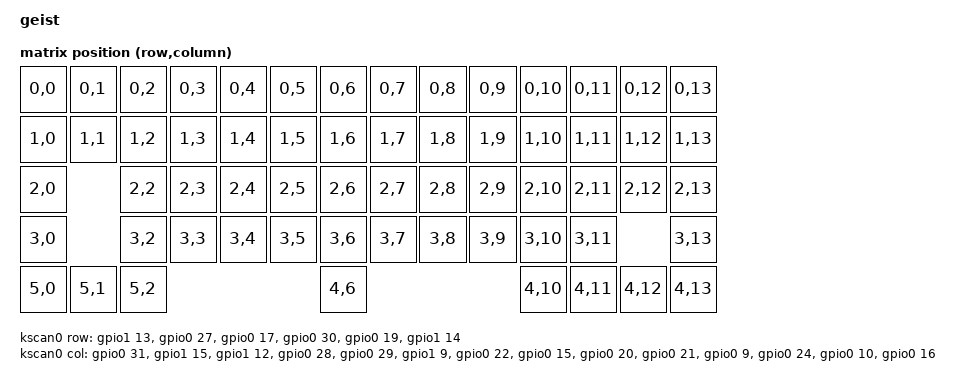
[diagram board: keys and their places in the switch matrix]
/*
 * Copyright (c) 2021 Nick Winans
 *
 * SPDX-License-Identifier: MIT
 */

/dts-v1/;
#include <zephyr/dt-bindings/gpio/nordic-nrf-gpio.h>
#include <nordic/nrf52840_qiaa.dtsi>
#include <common/nordic/nrf52840_uf2_boot_mode.dtsi>

#include <dt-bindings/led/led.h>
#include <dt-bindings/pwm/pwm.h>
#include <zephyr/dt-bindings/adc/adc.h>
#include <zephyr/dt-bindings/adc/nrf-saadc.h>
#include <dt-bindings/zmk/matrix_transform.h>
#include "geist-pinctrl.dtsi"
#include <layouts/common/60percent/ansi.dtsi>




/ {
    model = "geist";
    compatible = "ryong,geist";

    chosen {
        zephyr,code-partition = &code_partition;
        zephyr,sram = &sram0;
        zephyr,flash = &flash0;
        // zmk,battery = &vbatt;
        zmk,battery = &builtin_fuel_gauge;
        zmk,kscan = &kscan0;
        // zmk,matrix-transform = &default_transform;
        zmk,physical-layout = &layout_60_ansi;
        zmk,underglow = &led_strip;
        zmk,backlight = &backlight;   // geist Ver2: 키별 흰색 LED 61개 (IS31FL3746A 1개, 아래 keyleds)
    };

    default_transform: keymap_transform_0 {
        compatible = "zmk,matrix-transform";
        columns = <14>;
        rows = <6>;   // geist-UG4: 맨 아래 줄을 왼쪽(ROW4)·오른쪽(ROW4R) 두 핀으로 나눔 → 행렬은 6행
        map = <
                RC(0,0) RC(0,1) RC(0,2) RC(0,3) RC(0,4) RC(0,5) RC(0,6) RC(0,7) RC(0,8) RC(0,9) RC(0,10) RC(0,11) RC(0,12) RC(0,13)
                RC(1,0) RC(1,1) RC(1,2) RC(1,3) RC(1,4) RC(1,5) RC(1,6) RC(1,7) RC(1,8) RC(1,9) RC(1,10) RC(1,11) RC(1,12) RC(1,13)
                RC(2,0)         RC(2,2) RC(2,3) RC(2,4) RC(2,5) RC(2,6) RC(2,7) RC(2,8) RC(2,9) RC(2,10) RC(2,11) RC(2,12) RC(2,13)
                RC(3,0)         RC(3,2) RC(3,3) RC(3,4) RC(3,5) RC(3,6) RC(3,7) RC(3,8) RC(3,9) RC(3,10) RC(3,11)          RC(3,13)
                RC(5,0) RC(5,1) RC(5,2)                         RC(4,6)                         RC(4,10) RC(4,11) RC(4,12) RC(4,13)  
        >;
    };


    kscan0: kscan {
        compatible = "zmk,kscan-gpio-matrix";
        wakeup-source;

        diode-direction = "row2col";
        // geist-UG4 (MDBT50Q-1MV2): 핀은 기판에 줄기가 들어오는 순서대로 배정. 기판 U2 패드 ↔ 넷은 pinmap_ug4.json
        col-gpios
            = <&gpio0 31 (GPIO_ACTIVE_HIGH | GPIO_PULL_DOWN)>
            , <&gpio1 15 (GPIO_ACTIVE_HIGH | GPIO_PULL_DOWN)>
            , <&gpio1 12 (GPIO_ACTIVE_HIGH | GPIO_PULL_DOWN)>
            , <&gpio0 28 (GPIO_ACTIVE_HIGH | GPIO_PULL_DOWN)>
            , <&gpio0 29 (GPIO_ACTIVE_HIGH | GPIO_PULL_DOWN)>
            , <&gpio1  9 (GPIO_ACTIVE_HIGH | GPIO_PULL_DOWN)>
            , <&gpio0 22 (GPIO_ACTIVE_HIGH | GPIO_PULL_DOWN)>
            , <&gpio0 15 (GPIO_ACTIVE_HIGH | GPIO_PULL_DOWN)>
            , <&gpio0 20 (GPIO_ACTIVE_HIGH | GPIO_PULL_DOWN)>
            , <&gpio0 21 (GPIO_ACTIVE_HIGH | GPIO_PULL_DOWN)>
            , <&gpio0  9 (GPIO_ACTIVE_HIGH | GPIO_PULL_DOWN)>
            , <&gpio0 24 (GPIO_ACTIVE_HIGH | GPIO_PULL_DOWN)>
            , <&gpio0 10 (GPIO_ACTIVE_HIGH | GPIO_PULL_DOWN)>
            , <&gpio0 16 (GPIO_ACTIVE_HIGH | GPIO_PULL_DOWN)>
            ;
        row-gpios
            = <&gpio1 13 GPIO_ACTIVE_HIGH>
            , <&gpio0 27 GPIO_ACTIVE_HIGH>
            , <&gpio0 17 GPIO_ACTIVE_HIGH>
            , <&gpio0 30 GPIO_ACTIVE_HIGH>
            , <&gpio0 19 GPIO_ACTIVE_HIGH>
            , <&gpio1 14 GPIO_ACTIVE_HIGH>
            ;
    };

    leds {
        compatible = "gpio-leds";
        blue_led: led_0 {
            gpios = <&gpio0 2 GPIO_ACTIVE_HIGH>;   // LED (상태 표시)
        };
    };

    // Node name must match original "EXT_POWER" label to preserve user settings.
    EXT_POWER {
        compatible = "zmk,ext-power-generic";
        control-gpios = <&gpio1 10 GPIO_ACTIVE_HIGH>;   // UG_PWR: R7 → U84(TPS2553, 0.31~0.40A 전류 제한) EN 이 언더글로우 전원을 끊고 이음
    };

    // geist Ver2: 키 LED 61개를 한 장치로 묶음. led 0 = 전체(ZMK 백라이트), led 1+n = 키맵 n번 키 하나
    backlight: keyleds {
        compatible = "ryong,keyleds";
        driver = <&led_drv>;
        sdb-gpios = <&gpio1 11 GPIO_ACTIVE_HIGH>;   // P1.11 = LED_SDB (R21 10k 풀다운)
        all_keys {
            label = "all keys";
        };
    };

    vbatt: vbatt {
      compatible = "zmk,battery-nrf-vddh";
    };    
};

&layout_60_ansi {
  transform = <&default_transform>;
};

&adc {
    status = "okay";
    #address-cells = <1>;
    #size-cells = <0>;
    // Ver2 고속 충전: P0.03(AIN1) = CC_SENSE. CC1·CC2 각각 220k 로 합친 점 (연결된 쪽 CC 전압의 1/2), 1nF
    channel@0 {
        reg = <0>;
        zephyr,gain = "ADC_GAIN_1_6";
        zephyr,reference = "ADC_REF_INTERNAL";
        zephyr,acquisition-time = <ADC_ACQ_TIME(ADC_ACQ_TIME_MICROSECONDS, 40)>;
        zephyr,input-positive = <NRF_SAADC_AIN1>;   // P0.03 = AIN1 = CC_SENSE
        zephyr,resolution = <12>;
    };
};

// NFC 핀 P0.09·P0.10 을 GPIO 로 (NFC 안테나 없음): COL10·COL12 로 씀
&uicr {
    nfct-pins-as-gpios;
};

/ {
    zephyr,user {
        io-channels = <&adc 0>;
        // P1.02 = BQ_EN2. Q83 2N7002 가 EN1 = NOT EN2 로 만들어 Standby(11) 조합은 불가능
        bq-en2-gpios = <&gpio1 2 GPIO_ACTIVE_HIGH>;
    };
};

&gpiote {
    status = "okay";
};

&gpio0 {
    status = "okay";
};

&gpio1 {
    status = "okay";
};

&spi3 {
    compatible = "nordic,nrf-spim";

    pinctrl-0 = <&spi3_default>;
    pinctrl-1 = <&spi3_sleep>;
    pinctrl-names = "default", "sleep";
    status = "okay";

    led_strip: ws2812@0 {
        compatible = "worldsemi,ws2812-spi";

        /* SPI */
        reg = <0>; /* ignored, but necessary for SPI bindings */
        spi-max-frequency = <4000000>;

        /* WS2812 */
        chain-length = <14>; /* LED strip length */
        spi-one-frame = <0x70>;
        spi-zero-frame = <0x40>;
        color-mapping = <LED_COLOR_ID_GREEN LED_COLOR_ID_RED LED_COLOR_ID_BLUE>;
    };
};

&i2c1 {
  status = "okay";
  compatible = "nordic,nrf-twi";
  pinctrl-0 = <&i2c1_default>;
  pinctrl-1 = <&i2c1_sleep>;
  pinctrl-names = "default", "sleep";

  clock-frequency = <I2C_BITRATE_STANDARD>;  // 100 kHz: chip-side BSS138 + 47k to VCC_LED rises 0.3-1.8 us on battery (400 kHz needs 0.3 us), geist check

  // geist Ver2: 키 LED 드라이버 IS31FL3746A 1개 (U81, 0x60: ADDR1=ADDR2=GND). RISET 18k
  led_drv: is31fl3746a@60 {
      compatible = "issi,is31fl3746a";
      reg = <0x60>;
      sdb-gpios = <&gpio1 11 GPIO_ACTIVE_HIGH>;     // P1.11 = LED_SDB: SDB + VIO (R21 10k pull-down). I2C isolation FET gates + 47k chip-side pull-ups sit on VCC_LED
      power-gpios = <&gpio0 8 GPIO_ACTIVE_HIGH>;  // P0.08 = LED_PWR: U83 TPS2553 current-limited switch (27k ILIM, min 0.89 A) for VCC_LED, R25 100k EN pull-down (off ~0.1 uA). P0.03 senses USB-C CC
      // RISET 18k (R20): 255/256 에서 LED 순간 19.0mA, 평균 4.6mA. LITEON LTW-C230DS 연속 정격 20mA 안쪽 (저항으로 보장)
      current-limit = <255>;
      spread-spectrum;          // 스캔 클럭 ±5% 확산: 전자파 피크를 낮춤 (안테나 보호)
  };

  builtin_fuel_gauge: max17048@36 {
      compatible = "zmk,maxim-max17048";
      status = "okay";
      reg = <0x36>;
  };

  // geist-UG4-SB: Smart Backlight 센서 FDC1004 (U85, 0x50). 전극 CIN1 왼쪽 · CIN4 오른쪽(S4: 아래 세 줄 스위치 면 띠 전극), SHLD1 = L3 쉴드
  smart_bl: fdc1004@50 {
      compatible = "ryong,smart-backlight";
      status = "okay";
      reg = <0x50>;
      enable-gpios = <&gpio1 0 (GPIO_ACTIVE_HIGH | NRF_GPIO_DRIVE_H0H1)>;   // U2 패드 47 P1.00 = SB_EN = U85 VDD: 측정하는 약 10ms 만 켬, 그 외 0V
  };
};

/ {
    behaviors {
        // &sbl SBL_TOG / SBL_ON / SBL_OFF / SBL_UP / SBL_DN (ryong_smartbl.c)
        sbl: smart_bl_behavior {
            compatible = "ryong,behavior-smart-backlight";
            #binding-cells = <1>;
            display-name = "Smart Backlight";
        };
    };
};

zephyr_udc0: &usbd {
    status = "okay";
};

&flash0 {
    /*
    * For more information, see:
    * http://docs.zephyrproject.org/latest/devices/dts/flash_partitions.html
    */
    partitions {
        compatible = "fixed-partitions";
        #address-cells = <1>;
        #size-cells = <1>;

        sd_partition: partition@0 {
            reg = <0x00000000 0x00001000>;
        };

        code_partition: partition@1000 {
            reg = <0x00001000 0x000d3000>;
        };

        /*
        * The flash starting at 0x000d4000 and ending at
        * 0x000f3fff is reserved for use by the application.
        */

        /*
        * Storage partition will be used by FCB/LittleFS/NVS
        * if enabled.
        */
        storage_partition: partition@d4000 {
            reg = <0x000d4000 0x00020000>;
        };

        boot_partition: partition@f4000 {
            reg = <0x000f4000 0x0000c000>;
        };
    };
};

// geist: REG1 DC/DC 는 켬 (Kconfig BOARD_ENABLE_DCDC 기본 y → SOC_DCDC_NRF52X).
//   원본 zmk-rule60 보드 정의(chcbaram)도 같은 Kconfig·같은 기본값 y, geist-UG4 는 Raytac MDBT50Q-1MV2 (REG1 인덕터는 모듈 안).
//   첫 보드가 부팅하지 않거나 리셋이 반복되면 CONFIG_BOARD_ENABLE_DCDC=n (LDO) 로 빌드해 확인.

// geist: 전원 끄기(soft off) 뒤에 칩을 깨우는 키 (기본 Fn, 맨 아래 맨 오른쪽).
//   keys.ryong.com 이 ryong-power.json 으로 만드는 파일 — 사이트의 펌웨어 → 편집 → 깨우기 키에서 바꿈.
//   깨어난 뒤에는 geist_power.c 가 깨우기 키 + Soft Off 키를 3초 누르고 있는지 확인하고, 아니면 다시 끔.
//   (15분 무입력 자동 절전은 이와 별개로 아무 키나 누르면 깨어남)
#include "ryong-wake.dtsi"
